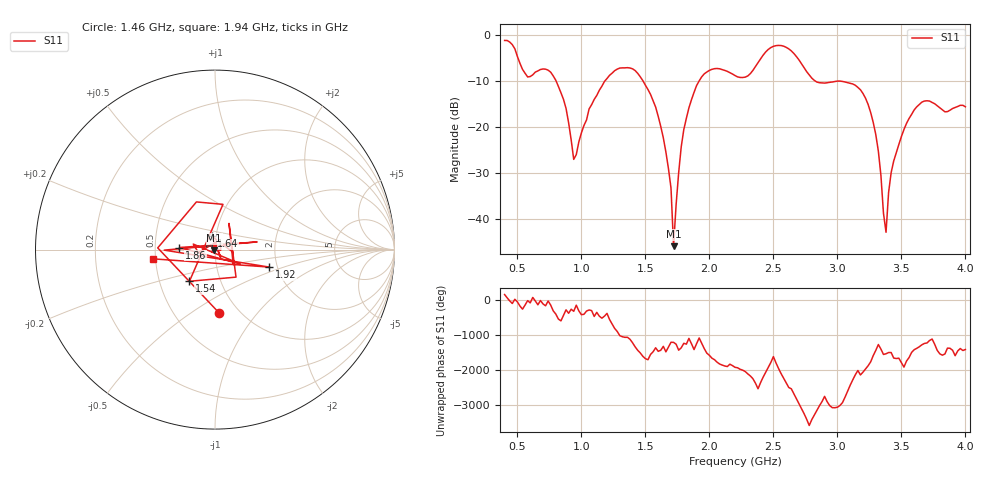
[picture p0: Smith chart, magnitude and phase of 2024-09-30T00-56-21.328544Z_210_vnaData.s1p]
!Created with skrf (http://scikit-rf.org).
# Hz S RI R 50.0
!freq ReS11 ImS11
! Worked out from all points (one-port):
!   181 points, 400 MHz to 4 GHz, reference 50 ohm
!   lowest |S11| = -45.8 dB at 1.72 GHz (marker M1), VSWR 1.01, Z = 49.6 - j0.307 ohm
!   |S11| at or under -10 dB: 802.5 MHz to 1.183 GHz (380.4 MHz wide, 38.3 % of centre); 1.482 GHz to 1.919 GHz (437.6 MHz wide, 25.7 % of centre); 2.828 GHz to end of sweep
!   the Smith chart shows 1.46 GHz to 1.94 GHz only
!   S11 on the Smith chart (normalised r, x): 1.46 GHz: 0.81, -0.65; 1.54 GHz: 0.71, -0.26; 1.64 GHz: 0.95, +0.14; 1.86 GHz: 0.67, +0.02; 1.92 GHz: 1.81, -0.39; 1.94 GHz: 0.48, -0.06
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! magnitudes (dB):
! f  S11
! 400 MHz  -1.2
! 580 MHz  -9.1
! 760 MHz  -8.1
! 860 MHz  -14.0
! 940 MHz  -27.0
! 1.06 GHz  -16.0
! 1.3 GHz  -7.2
! 1.46 GHz  -9.1
! 1.54 GHz  -12.9
! 1.64 GHz  -22.3
! 1.7 GHz  -33.2
! 1.72 GHz  -45.8
! 1.76 GHz  -29.8
! 1.86 GHz  -14.0
! 1.92 GHz  -10.0
! 1.94 GHz  -9.1
! 2.2 GHz  -8.8
! 2.5 GHz  -2.5
! 2.66 GHz  -4.0
! 2.84 GHz  -10.2
! 3.1 GHz  -10.5
! 3.28 GHz  -19.0
! 3.32 GHz  -25.2
! 3.38 GHz  -42.8
! 3.42 GHz  -29.8
! 3.56 GHz  -18.1
! 3.68 GHz  -14.3
! 4 GHz  -15.6
